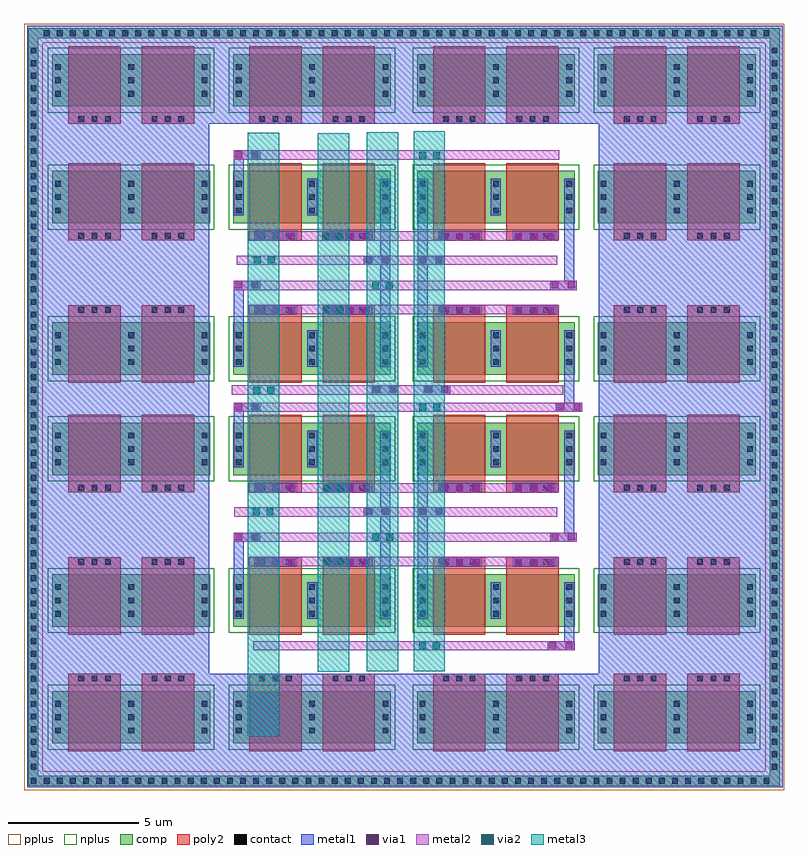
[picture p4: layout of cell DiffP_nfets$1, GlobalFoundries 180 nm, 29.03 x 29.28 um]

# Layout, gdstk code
import gdstk
lib = gdstk.Library(unit=1e-6, precision=1e-09)
def R(c, l, rs):  # rectangles x0, y0, x1, y1
    for r in rs: c.add(gdstk.rectangle(r[:2], r[2:], *l))
def A(c, l, x, y, w, h, nx, ny, dx, dy):  # array of equal rectangles
    R(c, l, [(x+i*dx, y+j*dy, x+i*dx+w, y+j*dy+h) for i in range(nx) for j in range(ny)])
comp = (22, 0)
poly2 = (30, 0)
pplus = (31, 0)
nplus = (32, 0)
contact = (33, 0)
metal1 = (34, 0)
via1 = (35, 0)
metal2 = (36, 0)
via2 = (38, 0)
metal3 = (42, 0)

nfet_1 = lib.new_cell('nfet$1')
R(nfet_1, comp, [(-0.42,0,0,2), (0,0,2.38,2), (2.38,0,2.8,2)])
R(nfet_1, poly2, [(0.19,-0.3,2.19,2.3), (0.19,2.3,2.19,2.66)])
R(nfet_1, nplus, [(-0.59,-0.24,2.97,2.24)])
A(nfet_1, contact, -0.32, 0.38, 0.22, 0.22, 1, 3, 0, 0.51)
A(nfet_1, contact, 2.48, 0.38, 0.22, 0.22, 1, 3, 0, 0.51)
A(nfet_1, contact, 0.57, 2.37, 0.22, 0.22, 3, 1, 0.51, 0)
R(nfet_1, metal1, [(-0.4,0.3,-0.02,1.7), (2.4,0.3,2.78,1.7), (0.49,2.29,1.89,2.67)])

diffp_nfets_1 = lib.new_cell('DiffP_nfets$1')
R(diffp_nfets_1, comp, [(-8.835,-2.305,19.855,-1.925), (-8.835,-1.925,-8.455,26.635), (19.475,-1.925,19.855,26.635), (-8.835,26.255,19.855,26.635)])
R(diffp_nfets_1, pplus, [(-9.005,-2.475,20.025,-1.755), (-9.005,-2.1,-8.285,26.805), (19.305,-2.1,20.025,26.805), (-9.005,26.085,20.025,26.805)])
A(diffp_nfets_1, contact, -8.75, -2.225, 0.22, 0.22, 57, 1, 0.5, 0)
A(diffp_nfets_1, contact, -8.755, -1.69, 0.22, 0.22, 1, 58, 0, 0.48)
A(diffp_nfets_1, contact, 19.555, -1.69, 0.22, 0.22, 1, 58, 0, 0.48)
A(diffp_nfets_1, contact, -8.25, 26.335, 0.22, 0.22, 56, 1, 0.5, 0)
R(diffp_nfets_1, contact, [(-8.755,25.67,-8.535,25.89)])
R(diffp_nfets_1, metal1, [(-8.875,-2.36,-1.92,26.725), (-2.315,-2.36,19.985,1.985), (12.94,-0.385,19.985,25.345), (11,2.87,12.01,3.225), (11,2.87,12.01,3.225), (11,2.87,12.01,3.225), (11.63,2.88,12.01,4.84), (4.61,5.35,4.99,8.045), (6.03,5.35,6.41,8.045), (-0.99,5.395,-0.61,7.35), (-0.21,6.065,1.44,6.445), (2.64,6.065,4.29,6.445), (6.83,6.065,8.48,6.445), (9.67,6.065,11.32,6.445), (-0.99,7.01,0.02,7.365), (-0.99,7.01,0.02,7.365), (-0.99,7.01,0.02,7.365), (11.09,7.01,12.1,7.365), (11.09,7.01,12.1,7.365), (11.09,7.01,12.1,7.365), (11.63,7.01,12.01,10.65), (3.98,7.975,4.99,8.33), (3.98,7.975,4.99,8.33), (3.98,7.975,4.99,8.33), (3.98,7.975,4.99,8.33), (3.98,7.975,4.99,8.33), (3.98,7.975,4.99,8.33), (4.61,7.975,4.99,10.095), (6.03,7.975,6.41,10.095), (6.04,7.975,7.05,8.33), (6.04,7.975,7.05,8.33), (6.04,7.975,7.05,8.33), (6.04,7.975,7.05,8.33), (6.04,7.975,7.05,8.33), (6.04,7.975,7.05,8.33), (-0.21,8.895,1.44,9.275), (2.64,8.895,4.29,9.275), (6.83,8.895,8.48,9.275), (9.67,8.895,11.32,9.275), (-0.99,11.26,-0.61,12.245), (-0.99,11.98,0.02,12.335), (-0.99,11.98,0.02,12.335), (-0.99,11.98,0.02,12.335), (11.31,11.98,12.32,12.335), (11.31,11.98,12.32,12.335), (11.31,11.98,12.32,12.335), (11.63,12.025,12.01,14.08), (4.28,12.64,5.29,12.995), (4.28,12.64,5.29,12.995), (4.28,12.64,5.29,12.995), (6.26,12.64,7.27,12.995), (6.26,12.64,7.27,12.995), (6.26,12.64,7.27,12.995), (4.61,14.97,4.99,17.665), (6.03,14.97,6.41,17.665), (-0.99,15.015,-0.61,16.97), (-0.21,15.685,1.44,16.065), (2.64,15.685,4.29,16.065), (6.83,15.685,8.48,16.065), (9.67,15.685,11.32,16.065), (-0.99,16.63,0.02,16.985), (-0.99,16.63,0.02,16.985), (-0.99,16.63,0.02,16.985), (11.09,16.63,12.1,16.985), (11.09,16.63,12.1,16.985), (11.09,16.63,12.1,16.985), (11.63,16.63,12.01,20.27), (3.98,17.595,4.99,17.95), (3.98,17.595,4.99,17.95), (3.98,17.595,4.99,17.95), (3.98,17.595,4.99,17.95), (3.98,17.595,4.99,17.95), (3.98,17.595,4.99,17.95), (4.61,17.595,4.99,19.715), (6.03,17.595,6.41,19.715), (6.04,17.595,7.05,17.95), (6.04,17.595,7.05,17.95), (6.04,17.595,7.05,17.95), (6.04,17.595,7.05,17.95), (6.04,17.595,7.05,17.95), (6.04,17.595,7.05,17.95), (-0.21,18.515,1.44,18.895), (2.64,18.515,4.29,18.895), (6.83,18.515,8.48,18.895), (9.67,18.515,11.32,18.895), (-0.99,20.845,-0.61,21.705), (-0.99,21.61,0.02,21.965), (-0.99,21.61,0.02,21.965), (-0.99,21.61,0.02,21.965), (-2.315,22.975,19.985,26.725)])
R(diffp_nfets_1, via1, [(11.06,2.935,11.32,3.195), (11.06,2.935,11.32,3.195), (11.68,2.935,11.94,3.195), (11.68,2.935,11.94,3.195), (-0.14,6.115,0.12,6.375), (-0.14,6.115,0.12,6.375), (-0.14,6.115,0.12,6.375), (-0.14,6.115,0.12,6.375), (-0.14,6.115,0.12,6.375), (-0.14,6.115,0.12,6.375), (-0.14,6.115,0.12,6.375), (-0.14,6.115,0.12,6.375), (0.48,6.115,0.74,6.375), (0.48,6.115,0.74,6.375), (0.48,6.115,0.74,6.375), (0.48,6.115,0.74,6.375), (0.48,6.115,0.74,6.375), (0.48,6.115,0.74,6.375), (0.48,6.115,0.74,6.375), (0.48,6.115,0.74,6.375), (1.1,6.115,1.36,6.375), (1.1,6.115,1.36,6.375), (1.1,6.115,1.36,6.375), (1.1,6.115,1.36,6.375), (1.1,6.115,1.36,6.375), (1.1,6.115,1.36,6.375), (1.1,6.115,1.36,6.375), (1.1,6.115,1.36,6.375), (2.71,6.115,2.97,6.375), (2.71,6.115,2.97,6.375), (2.71,6.115,2.97,6.375), (2.71,6.115,2.97,6.375), (2.71,6.115,2.97,6.375), (2.71,6.115,2.97,6.375), (2.71,6.115,2.97,6.375), (2.71,6.115,2.97,6.375), (3.33,6.115,3.59,6.375), (3.33,6.115,3.59,6.375), (3.33,6.115,3.59,6.375), (3.33,6.115,3.59,6.375), (3.33,6.115,3.59,6.375), (3.33,6.115,3.59,6.375), (3.33,6.115,3.59,6.375), (3.33,6.115,3.59,6.375), (3.95,6.115,4.21,6.375), (3.95,6.115,4.21,6.375), (3.95,6.115,4.21,6.375), (3.95,6.115,4.21,6.375), (3.95,6.115,4.21,6.375), (3.95,6.115,4.21,6.375), (3.95,6.115,4.21,6.375), (3.95,6.115,4.21,6.375), (6.9,6.115,7.16,6.375), (6.9,6.115,7.16,6.375), (6.9,6.115,7.16,6.375), (6.9,6.115,7.16,6.375), (6.9,6.115,7.16,6.375), (6.9,6.115,7.16,6.375), (6.9,6.115,7.16,6.375), (6.9,6.115,7.16,6.375), (7.52,6.115,7.78,6.375), (7.52,6.115,7.78,6.375), (7.52,6.115,7.78,6.375), (7.52,6.115,7.78,6.375), (7.52,6.115,7.78,6.375), (7.52,6.115,7.78,6.375), (7.52,6.115,7.78,6.375), (7.52,6.115,7.78,6.375), (8.14,6.115,8.4,6.375), (8.14,6.115,8.4,6.375), (8.14,6.115,8.4,6.375), (8.14,6.115,8.4,6.375), (8.14,6.115,8.4,6.375), (8.14,6.115,8.4,6.375), (8.14,6.115,8.4,6.375), (8.14,6.115,8.4,6.375), (9.74,6.115,10,6.375), (9.74,6.115,10,6.375), (9.74,6.115,10,6.375), (9.74,6.115,10,6.375), (9.74,6.115,10,6.375), (9.74,6.115,10,6.375), (9.74,6.115,10,6.375), (9.74,6.115,10,6.375), (10.36,6.115,10.62,6.375), (10.36,6.115,10.62,6.375), (10.36,6.115,10.62,6.375), (10.36,6.115,10.62,6.375), (10.36,6.115,10.62,6.375), (10.36,6.115,10.62,6.375), (10.36,6.115,10.62,6.375), (10.36,6.115,10.62,6.375), (10.98,6.115,11.24,6.375), (10.98,6.115,11.24,6.375), (10.98,6.115,11.24,6.375), (10.98,6.115,11.24,6.375), (10.98,6.115,11.24,6.375), (10.98,6.115,11.24,6.375), (10.98,6.115,11.24,6.375), (10.98,6.115,11.24,6.375), (-0.93,7.075,-0.67,7.335), (-0.93,7.075,-0.67,7.335), (-0.31,7.075,-0.05,7.335), (-0.31,7.075,-0.05,7.335), (11.15,7.075,11.41,7.335), (11.15,7.075,11.41,7.335), (11.77,7.075,12.03,7.335), (11.77,7.075,12.03,7.335), (4.04,8.04,4.3,8.3), (4.04,8.04,4.3,8.3), (4.04,8.04,4.3,8.3), (4.04,8.04,4.3,8.3), (4.66,8.04,4.92,8.3), (4.66,8.04,4.92,8.3), (4.66,8.04,4.92,8.3), (4.66,8.04,4.92,8.3), (6.1,8.04,6.36,8.3), (6.1,8.04,6.36,8.3), (6.1,8.04,6.36,8.3), (6.1,8.04,6.36,8.3), (6.72,8.04,6.98,8.3), (6.72,8.04,6.98,8.3), (6.72,8.04,6.98,8.3), (6.72,8.04,6.98,8.3), (-0.14,8.945,0.12,9.205), (-0.14,8.945,0.12,9.205), (-0.14,8.945,0.12,9.205), (-0.14,8.945,0.12,9.205), (-0.14,8.945,0.12,9.205), (-0.14,8.945,0.12,9.205), (-0.14,8.945,0.12,9.205), (-0.14,8.945,0.12,9.205), (0.48,8.945,0.74,9.205), (0.48,8.945,0.74,9.205), (0.48,8.945,0.74,9.205), (0.48,8.945,0.74,9.205), (0.48,8.945,0.74,9.205), (0.48,8.945,0.74,9.205), (0.48,8.945,0.74,9.205), (0.48,8.945,0.74,9.205), (1.1,8.945,1.36,9.205), (1.1,8.945,1.36,9.205), (1.1,8.945,1.36,9.205), (1.1,8.945,1.36,9.205), (1.1,8.945,1.36,9.205), (1.1,8.945,1.36,9.205), (1.1,8.945,1.36,9.205), (1.1,8.945,1.36,9.205), (2.71,8.945,2.97,9.205), (2.71,8.945,2.97,9.205), (2.71,8.945,2.97,9.205), (2.71,8.945,2.97,9.205), (2.71,8.945,2.97,9.205), (2.71,8.945,2.97,9.205), (2.71,8.945,2.97,9.205), (2.71,8.945,2.97,9.205), (3.33,8.945,3.59,9.205), (3.33,8.945,3.59,9.205), (3.33,8.945,3.59,9.205), (3.33,8.945,3.59,9.205), (3.33,8.945,3.59,9.205), (3.33,8.945,3.59,9.205), (3.33,8.945,3.59,9.205), (3.33,8.945,3.59,9.205), (3.95,8.945,4.21,9.205), (3.95,8.945,4.21,9.205), (3.95,8.945,4.21,9.205), (3.95,8.945,4.21,9.205), (3.95,8.945,4.21,9.205), (3.95,8.945,4.21,9.205), (3.95,8.945,4.21,9.205), (3.95,8.945,4.21,9.205), (6.9,8.945,7.16,9.205), (6.9,8.945,7.16,9.205), (6.9,8.945,7.16,9.205), (6.9,8.945,7.16,9.205), (6.9,8.945,7.16,9.205), (6.9,8.945,7.16,9.205), (6.9,8.945,7.16,9.205), (6.9,8.945,7.16,9.205), (7.52,8.945,7.78,9.205), (7.52,8.945,7.78,9.205), (7.52,8.945,7.78,9.205), (7.52,8.945,7.78,9.205), (7.52,8.945,7.78,9.205), (7.52,8.945,7.78,9.205), (7.52,8.945,7.78,9.205), (7.52,8.945,7.78,9.205), (8.14,8.945,8.4,9.205), (8.14,8.945,8.4,9.205), (8.14,8.945,8.4,9.205), (8.14,8.945,8.4,9.205), (8.14,8.945,8.4,9.205), (8.14,8.945,8.4,9.205), (8.14,8.945,8.4,9.205), (8.14,8.945,8.4,9.205), (9.74,8.945,10,9.205), (9.74,8.945,10,9.205), (9.74,8.945,10,9.205), (9.74,8.945,10,9.205), (9.74,8.945,10,9.205), (9.74,8.945,10,9.205), (9.74,8.945,10,9.205), (9.74,8.945,10,9.205), (10.36,8.945,10.62,9.205), (10.36,8.945,10.62,9.205), (10.36,8.945,10.62,9.205), (10.36,8.945,10.62,9.205), (10.36,8.945,10.62,9.205), (10.36,8.945,10.62,9.205), (10.36,8.945,10.62,9.205), (10.36,8.945,10.62,9.205), (10.98,8.945,11.24,9.205), (10.98,8.945,11.24,9.205), (10.98,8.945,11.24,9.205), (10.98,8.945,11.24,9.205), (10.98,8.945,11.24,9.205), (10.98,8.945,11.24,9.205), (10.98,8.945,11.24,9.205), (10.98,8.945,11.24,9.205), (-0.93,12.045,-0.67,12.305), (-0.93,12.045,-0.67,12.305), (-0.31,12.045,-0.05,12.305), (-0.31,12.045,-0.05,12.305), (11.37,12.045,11.63,12.305), (11.37,12.045,11.63,12.305), (11.99,12.045,12.25,12.305), (11.99,12.045,12.25,12.305), (4.34,12.705,4.6,12.965), (4.34,12.705,4.6,12.965), (4.96,12.705,5.22,12.965), (4.96,12.705,5.22,12.965), (6.32,12.705,6.58,12.965), (6.32,12.705,6.58,12.965), (6.94,12.705,7.2,12.965), (6.94,12.705,7.2,12.965), (-0.14,15.735,0.12,15.995), (-0.14,15.735,0.12,15.995), (-0.14,15.735,0.12,15.995), (-0.14,15.735,0.12,15.995), (-0.14,15.735,0.12,15.995), (-0.14,15.735,0.12,15.995), (-0.14,15.735,0.12,15.995), (-0.14,15.735,0.12,15.995), (0.48,15.735,0.74,15.995), (0.48,15.735,0.74,15.995), (0.48,15.735,0.74,15.995), (0.48,15.735,0.74,15.995), (0.48,15.735,0.74,15.995), (0.48,15.735,0.74,15.995), (0.48,15.735,0.74,15.995), (0.48,15.735,0.74,15.995), (1.1,15.735,1.36,15.995), (1.1,15.735,1.36,15.995), (1.1,15.735,1.36,15.995), (1.1,15.735,1.36,15.995), (1.1,15.735,1.36,15.995), (1.1,15.735,1.36,15.995), (1.1,15.735,1.36,15.995), (1.1,15.735,1.36,15.995), (2.71,15.735,2.97,15.995), (2.71,15.735,2.97,15.995), (2.71,15.735,2.97,15.995), (2.71,15.735,2.97,15.995), (2.71,15.735,2.97,15.995), (2.71,15.735,2.97,15.995), (2.71,15.735,2.97,15.995), (2.71,15.735,2.97,15.995), (3.33,15.735,3.59,15.995), (3.33,15.735,3.59,15.995), (3.33,15.735,3.59,15.995), (3.33,15.735,3.59,15.995), (3.33,15.735,3.59,15.995), (3.33,15.735,3.59,15.995), (3.33,15.735,3.59,15.995), (3.33,15.735,3.59,15.995), (3.95,15.735,4.21,15.995), (3.95,15.735,4.21,15.995), (3.95,15.735,4.21,15.995), (3.95,15.735,4.21,15.995), (3.95,15.735,4.21,15.995), (3.95,15.735,4.21,15.995), (3.95,15.735,4.21,15.995), (3.95,15.735,4.21,15.995), (6.9,15.735,7.16,15.995), (6.9,15.735,7.16,15.995), (6.9,15.735,7.16,15.995), (6.9,15.735,7.16,15.995), (6.9,15.735,7.16,15.995), (6.9,15.735,7.16,15.995), (6.9,15.735,7.16,15.995), (6.9,15.735,7.16,15.995), (7.52,15.735,7.78,15.995), (7.52,15.735,7.78,15.995), (7.52,15.735,7.78,15.995), (7.52,15.735,7.78,15.995), (7.52,15.735,7.78,15.995), (7.52,15.735,7.78,15.995), (7.52,15.735,7.78,15.995), (7.52,15.735,7.78,15.995), (8.14,15.735,8.4,15.995), (8.14,15.735,8.4,15.995), (8.14,15.735,8.4,15.995), (8.14,15.735,8.4,15.995), (8.14,15.735,8.4,15.995), (8.14,15.735,8.4,15.995), (8.14,15.735,8.4,15.995), (8.14,15.735,8.4,15.995), (9.74,15.735,10,15.995), (9.74,15.735,10,15.995), (9.74,15.735,10,15.995), (9.74,15.735,10,15.995), (9.74,15.735,10,15.995), (9.74,15.735,10,15.995), (9.74,15.735,10,15.995), (9.74,15.735,10,15.995), (10.36,15.735,10.62,15.995), (10.36,15.735,10.62,15.995), (10.36,15.735,10.62,15.995), (10.36,15.735,10.62,15.995), (10.36,15.735,10.62,15.995), (10.36,15.735,10.62,15.995), (10.36,15.735,10.62,15.995), (10.36,15.735,10.62,15.995), (10.98,15.735,11.24,15.995), (10.98,15.735,11.24,15.995), (10.98,15.735,11.24,15.995), (10.98,15.735,11.24,15.995), (10.98,15.735,11.24,15.995), (10.98,15.735,11.24,15.995), (10.98,15.735,11.24,15.995), (10.98,15.735,11.24,15.995), (-0.93,16.695,-0.67,16.955), (-0.93,16.695,-0.67,16.955), (-0.31,16.695,-0.05,16.955), (-0.31,16.695,-0.05,16.955), (11.15,16.695,11.41,16.955), (11.15,16.695,11.41,16.955), (11.77,16.695,12.03,16.955), (11.77,16.695,12.03,16.955), (4.04,17.66,4.3,17.92), (4.04,17.66,4.3,17.92), (4.04,17.66,4.3,17.92), (4.04,17.66,4.3,17.92), (4.66,17.66,4.92,17.92), (4.66,17.66,4.92,17.92), (4.66,17.66,4.92,17.92), (4.66,17.66,4.92,17.92), (6.1,17.66,6.36,17.92), (6.1,17.66,6.36,17.92), (6.1,17.66,6.36,17.92), (6.1,17.66,6.36,17.92), (6.72,17.66,6.98,17.92), (6.72,17.66,6.98,17.92), (6.72,17.66,6.98,17.92), (6.72,17.66,6.98,17.92), (-0.14,18.565,0.12,18.825), (-0.14,18.565,0.12,18.825), (-0.14,18.565,0.12,18.825), (-0.14,18.565,0.12,18.825), (-0.14,18.565,0.12,18.825), (-0.14,18.565,0.12,18.825), (-0.14,18.565,0.12,18.825), (-0.14,18.565,0.12,18.825), (0.48,18.565,0.74,18.825), (0.48,18.565,0.74,18.825), (0.48,18.565,0.74,18.825), (0.48,18.565,0.74,18.825), (0.48,18.565,0.74,18.825), (0.48,18.565,0.74,18.825), (0.48,18.565,0.74,18.825), (0.48,18.565,0.74,18.825), (1.1,18.565,1.36,18.825), (1.1,18.565,1.36,18.825), (1.1,18.565,1.36,18.825), (1.1,18.565,1.36,18.825), (1.1,18.565,1.36,18.825), (1.1,18.565,1.36,18.825), (1.1,18.565,1.36,18.825), (1.1,18.565,1.36,18.825), (2.71,18.565,2.97,18.825), (2.71,18.565,2.97,18.825), (2.71,18.565,2.97,18.825), (2.71,18.565,2.97,18.825), (2.71,18.565,2.97,18.825), (2.71,18.565,2.97,18.825), (2.71,18.565,2.97,18.825), (2.71,18.565,2.97,18.825), (3.33,18.565,3.59,18.825), (3.33,18.565,3.59,18.825), (3.33,18.565,3.59,18.825), (3.33,18.565,3.59,18.825), (3.33,18.565,3.59,18.825), (3.33,18.565,3.59,18.825), (3.33,18.565,3.59,18.825), (3.33,18.565,3.59,18.825), (3.95,18.565,4.21,18.825), (3.95,18.565,4.21,18.825), (3.95,18.565,4.21,18.825), (3.95,18.565,4.21,18.825), (3.95,18.565,4.21,18.825), (3.95,18.565,4.21,18.825), (3.95,18.565,4.21,18.825), (3.95,18.565,4.21,18.825), (6.9,18.565,7.16,18.825), (6.9,18.565,7.16,18.825), (6.9,18.565,7.16,18.825), (6.9,18.565,7.16,18.825), (6.9,18.565,7.16,18.825), (6.9,18.565,7.16,18.825), (6.9,18.565,7.16,18.825), (6.9,18.565,7.16,18.825), (7.52,18.565,7.78,18.825), (7.52,18.565,7.78,18.825), (7.52,18.565,7.78,18.825), (7.52,18.565,7.78,18.825), (7.52,18.565,7.78,18.825), (7.52,18.565,7.78,18.825), (7.52,18.565,7.78,18.825), (7.52,18.565,7.78,18.825), (8.14,18.565,8.4,18.825), (8.14,18.565,8.4,18.825), (8.14,18.565,8.4,18.825), (8.14,18.565,8.4,18.825), (8.14,18.565,8.4,18.825), (8.14,18.565,8.4,18.825), (8.14,18.565,8.4,18.825), (8.14,18.565,8.4,18.825), (9.74,18.565,10,18.825), (9.74,18.565,10,18.825), (9.74,18.565,10,18.825), (9.74,18.565,10,18.825), (9.74,18.565,10,18.825), (9.74,18.565,10,18.825), (9.74,18.565,10,18.825), (9.74,18.565,10,18.825), (10.36,18.565,10.62,18.825), (10.36,18.565,10.62,18.825), (10.36,18.565,10.62,18.825), (10.36,18.565,10.62,18.825), (10.36,18.565,10.62,18.825), (10.36,18.565,10.62,18.825), (10.36,18.565,10.62,18.825), (10.36,18.565,10.62,18.825), (10.98,18.565,11.24,18.825), (10.98,18.565,11.24,18.825), (10.98,18.565,11.24,18.825), (10.98,18.565,11.24,18.825), (10.98,18.565,11.24,18.825), (10.98,18.565,11.24,18.825), (10.98,18.565,11.24,18.825), (10.98,18.565,11.24,18.825), (-0.93,21.675,-0.67,21.935), (-0.93,21.675,-0.67,21.935), (-0.31,21.675,-0.05,21.935), (-0.31,21.675,-0.05,21.935)])
R(diffp_nfets_1, metal2, [(-0.25,2.87,12.04,3.225), (-0.42,6.09,11.4,6.445), (-1,7.01,12.105,7.365), (-0.965,7.975,11.365,8.33), (-0.42,8.895,11.4,9.25), (-0.99,11.98,12.32,12.335), (-1.07,12.64,11.585,12.995), (-0.42,15.71,11.4,16.065), (-1,16.63,12.105,16.985), (-0.885,17.595,11.365,17.95), (-0.42,18.515,11.4,18.87), (-0.99,21.61,11.445,21.965)])
R(diffp_nfets_1, via2, [(6.085,2.915,6.345,3.175), (6.085,2.915,6.345,3.175), (6.085,2.915,6.345,3.175), (6.085,2.915,6.345,3.175), (6.085,2.915,6.345,3.175), (6.085,2.915,6.345,3.175), (6.085,2.915,6.345,3.175), (6.085,2.915,6.345,3.175), (6.615,2.915,6.875,3.175), (6.615,2.915,6.875,3.175), (6.615,2.915,6.875,3.175), (6.615,2.915,6.875,3.175), (6.615,2.915,6.875,3.175), (6.615,2.915,6.875,3.175), (6.615,2.915,6.875,3.175), (2.44,6.135,2.7,6.395), (2.44,6.135,2.7,6.395), (2.44,6.135,2.7,6.395), (2.44,6.135,2.7,6.395), (2.44,6.135,2.7,6.395), (2.44,6.135,2.7,6.395), (2.44,6.135,2.7,6.395), (2.44,6.135,2.7,6.395), (2.97,6.135,3.23,6.395), (2.97,6.135,3.23,6.395), (2.97,6.135,3.23,6.395), (2.97,6.135,3.23,6.395), (2.97,6.135,3.23,6.395), (2.97,6.135,3.23,6.395), (2.97,6.135,3.23,6.395), (2.97,6.135,3.23,6.395), (4.3,7.055,4.56,7.315), (4.3,7.055,4.56,7.315), (4.3,7.055,4.56,7.315), (4.3,7.055,4.56,7.315), (4.3,7.055,4.56,7.315), (4.3,7.055,4.56,7.315), (4.3,7.055,4.56,7.315), (4.3,7.055,4.56,7.315), (4.83,7.055,5.09,7.315), (4.83,7.055,5.09,7.315), (4.83,7.055,5.09,7.315), (4.83,7.055,5.09,7.315), (4.83,7.055,5.09,7.315), (4.83,7.055,5.09,7.315), (4.83,7.055,5.09,7.315), (4.83,7.055,5.09,7.315), (-0.265,8.03,-0.005,8.29), (-0.265,8.03,-0.005,8.29), (-0.265,8.03,-0.005,8.29), (-0.265,8.03,-0.005,8.29), (-0.265,8.03,-0.005,8.29), (-0.265,8.03,-0.005,8.29), (-0.265,8.03,-0.005,8.29), (-0.265,8.03,-0.005,8.29), (0.265,8.03,0.525,8.29), (0.265,8.03,0.525,8.29), (0.265,8.03,0.525,8.29), (0.265,8.03,0.525,8.29), (0.265,8.03,0.525,8.29), (0.265,8.03,0.525,8.29), (0.265,8.03,0.525,8.29), (0.265,8.03,0.525,8.29), (2.43,8.94,2.69,9.2), (2.43,8.94,2.69,9.2), (2.43,8.94,2.69,9.2), (2.43,8.94,2.69,9.2), (2.43,8.94,2.69,9.2), (2.43,8.94,2.69,9.2), (2.43,8.94,2.69,9.2), (2.43,8.94,2.69,9.2), (2.96,8.94,3.22,9.2), (2.96,8.94,3.22,9.2), (2.96,8.94,3.22,9.2), (2.96,8.94,3.22,9.2), (2.96,8.94,3.22,9.2), (2.96,8.94,3.22,9.2), (2.96,8.94,3.22,9.2), (2.96,8.94,3.22,9.2), (6.1,12.02,6.36,12.28), (6.1,12.02,6.36,12.28), (6.1,12.02,6.36,12.28), (6.1,12.02,6.36,12.28), (6.1,12.02,6.36,12.28), (6.1,12.02,6.36,12.28), (6.1,12.02,6.36,12.28), (6.1,12.02,6.36,12.28), (6.63,12.02,6.89,12.28), (6.63,12.02,6.89,12.28), (6.63,12.02,6.89,12.28), (6.63,12.02,6.89,12.28), (6.63,12.02,6.89,12.28), (6.63,12.02,6.89,12.28), (6.63,12.02,6.89,12.28), (6.63,12.02,6.89,12.28), (-0.245,12.675,0.015,12.935), (-0.245,12.675,0.015,12.935), (-0.245,12.675,0.015,12.935), (-0.245,12.675,0.015,12.935), (-0.245,12.675,0.015,12.935), (-0.245,12.675,0.015,12.935), (-0.245,12.675,0.015,12.935), (-0.245,12.675,0.015,12.935), (0.285,12.675,0.545,12.935), (0.285,12.675,0.545,12.935), (0.285,12.675,0.545,12.935), (0.285,12.675,0.545,12.935), (0.285,12.675,0.545,12.935), (0.285,12.675,0.545,12.935), (0.285,12.675,0.545,12.935), (0.285,12.675,0.545,12.935), (2.4,15.755,2.66,16.015), (2.4,15.755,2.66,16.015), (2.4,15.755,2.66,16.015), (2.4,15.755,2.66,16.015), (2.4,15.755,2.66,16.015), (2.4,15.755,2.66,16.015), (2.4,15.755,2.66,16.015), (2.4,15.755,2.66,16.015), (2.93,15.755,3.19,16.015), (2.93,15.755,3.19,16.015), (2.93,15.755,3.19,16.015), (2.93,15.755,3.19,16.015), (2.93,15.755,3.19,16.015), (2.93,15.755,3.19,16.015), (2.93,15.755,3.19,16.015), (2.93,15.755,3.19,16.015), (4.29,16.675,4.55,16.935), (4.29,16.675,4.55,16.935), (4.29,16.675,4.55,16.935), (4.29,16.675,4.55,16.935), (4.29,16.675,4.55,16.935), (4.29,16.675,4.55,16.935), (4.29,16.675,4.55,16.935), (4.29,16.675,4.55,16.935), (4.82,16.675,5.08,16.935), (4.82,16.675,5.08,16.935), (4.82,16.675,5.08,16.935), (4.82,16.675,5.08,16.935), (4.82,16.675,5.08,16.935), (4.82,16.675,5.08,16.935), (4.82,16.675,5.08,16.935), (4.82,16.675,5.08,16.935), (-0.22,17.65,0.04,17.91), (-0.22,17.65,0.04,17.91), (-0.22,17.65,0.04,17.91), (-0.22,17.65,0.04,17.91), (-0.22,17.65,0.04,17.91), (-0.22,17.65,0.04,17.91), (-0.22,17.65,0.04,17.91), (-0.22,17.65,0.04,17.91), (0.31,17.65,0.57,17.91), (0.31,17.65,0.57,17.91), (0.31,17.65,0.57,17.91), (0.31,17.65,0.57,17.91), (0.31,17.65,0.57,17.91), (0.31,17.65,0.57,17.91), (0.31,17.65,0.57,17.91), (0.31,17.65,0.57,17.91), (2.38,18.56,2.64,18.82), (2.38,18.56,2.64,18.82), (2.38,18.56,2.64,18.82), (2.38,18.56,2.64,18.82), (2.38,18.56,2.64,18.82), (2.38,18.56,2.64,18.82), (2.38,18.56,2.64,18.82), (2.38,18.56,2.64,18.82), (2.91,18.56,3.17,18.82), (2.91,18.56,3.17,18.82), (2.91,18.56,3.17,18.82), (2.91,18.56,3.17,18.82), (2.91,18.56,3.17,18.82), (2.91,18.56,3.17,18.82), (2.91,18.56,3.17,18.82), (2.91,18.56,3.17,18.82), (6.095,21.655,6.355,21.915), (6.095,21.655,6.355,21.915), (6.095,21.655,6.355,21.915), (6.095,21.655,6.355,21.915), (6.095,21.655,6.355,21.915), (6.095,21.655,6.355,21.915), (6.095,21.655,6.355,21.915), (6.095,21.655,6.355,21.915), (6.625,21.655,6.885,21.915), (6.625,21.655,6.885,21.915), (6.625,21.655,6.885,21.915), (6.625,21.655,6.885,21.915), (6.625,21.655,6.885,21.915), (6.625,21.655,6.885,21.915), (6.625,21.655,6.885,21.915), (6.625,21.655,6.885,21.915)])
R(diffp_nfets_1, metal3, [(-0.45,-0.405,0.75,22.635), (2.21,2.06,3.41,22.62), (4.09,2.08,5.29,22.655), (5.875,2.08,7.075,22.69)])
diffp_nfets_1.add(gdstk.Reference(nfet_1, (-0.59,3.775)))
diffp_nfets_1.add(gdstk.Reference(nfet_1, (2.21,3.775)))
diffp_nfets_1.add(gdstk.Reference(nfet_1, (6.43,3.775)))
diffp_nfets_1.add(gdstk.Reference(nfet_1, (9.23,3.775)))
diffp_nfets_1.add(gdstk.Reference(nfet_1, (-0.59,11.565), x_reflection=True))
diffp_nfets_1.add(gdstk.Reference(nfet_1, (2.21,11.565), x_reflection=True))
diffp_nfets_1.add(gdstk.Reference(nfet_1, (6.43,11.565), x_reflection=True))
diffp_nfets_1.add(gdstk.Reference(nfet_1, (9.23,11.565), x_reflection=True))
diffp_nfets_1.add(gdstk.Reference(nfet_1, (9.23,13.395)))
diffp_nfets_1.add(gdstk.Reference(nfet_1, (6.43,13.395)))
diffp_nfets_1.add(gdstk.Reference(nfet_1, (2.21,13.395)))
diffp_nfets_1.add(gdstk.Reference(nfet_1, (-0.59,13.395)))
diffp_nfets_1.add(gdstk.Reference(nfet_1, (-7.5,3.775)))
diffp_nfets_1.add(gdstk.Reference(nfet_1, (-4.7,3.775)))
diffp_nfets_1.add(gdstk.Reference(nfet_1, (-0.59,25.645), x_reflection=True))
diffp_nfets_1.add(gdstk.Reference(nfet_1, (2.21,25.645), x_reflection=True))
diffp_nfets_1.add(gdstk.Reference(nfet_1, (6.43,25.645), x_reflection=True))
diffp_nfets_1.add(gdstk.Reference(nfet_1, (9.23,25.645), x_reflection=True))
diffp_nfets_1.add(gdstk.Reference(nfet_1, (-7.5,25.645), x_reflection=True))
diffp_nfets_1.add(gdstk.Reference(nfet_1, (-4.7,25.645), x_reflection=True))
diffp_nfets_1.add(gdstk.Reference(nfet_1, (13.34,25.645), x_reflection=True))
diffp_nfets_1.add(gdstk.Reference(nfet_1, (16.14,25.645), x_reflection=True))
diffp_nfets_1.add(gdstk.Reference(nfet_1, (-4.7,-0.685)))
diffp_nfets_1.add(gdstk.Reference(nfet_1, (-7.5,-0.685)))
diffp_nfets_1.add(gdstk.Reference(nfet_1, (16.14,-0.685)))
diffp_nfets_1.add(gdstk.Reference(nfet_1, (13.34,-0.685)))
diffp_nfets_1.add(gdstk.Reference(nfet_1, (2.21,-0.685)))
diffp_nfets_1.add(gdstk.Reference(nfet_1, (-0.59,-0.685)))
diffp_nfets_1.add(gdstk.Reference(nfet_1, (9.23,-0.685)))
diffp_nfets_1.add(gdstk.Reference(nfet_1, (6.43,-0.685)))
diffp_nfets_1.add(gdstk.Reference(nfet_1, (-0.59,21.185), x_reflection=True))
diffp_nfets_1.add(gdstk.Reference(nfet_1, (2.21,21.185), x_reflection=True))
diffp_nfets_1.add(gdstk.Reference(nfet_1, (6.43,21.185), x_reflection=True))
diffp_nfets_1.add(gdstk.Reference(nfet_1, (9.23,21.185), x_reflection=True))
diffp_nfets_1.add(gdstk.Reference(nfet_1, (-7.5,11.565), x_reflection=True))
diffp_nfets_1.add(gdstk.Reference(nfet_1, (-4.7,11.565), x_reflection=True))
diffp_nfets_1.add(gdstk.Reference(nfet_1, (-4.7,13.395)))
diffp_nfets_1.add(gdstk.Reference(nfet_1, (-7.5,13.395)))
diffp_nfets_1.add(gdstk.Reference(nfet_1, (-7.5,21.185), x_reflection=True))
diffp_nfets_1.add(gdstk.Reference(nfet_1, (-4.7,21.185), x_reflection=True))
diffp_nfets_1.add(gdstk.Reference(nfet_1, (13.34,3.775)))
diffp_nfets_1.add(gdstk.Reference(nfet_1, (16.14,3.775)))
diffp_nfets_1.add(gdstk.Reference(nfet_1, (13.34,11.565), x_reflection=True))
diffp_nfets_1.add(gdstk.Reference(nfet_1, (16.14,11.565), x_reflection=True))
diffp_nfets_1.add(gdstk.Reference(nfet_1, (16.14,13.395)))
diffp_nfets_1.add(gdstk.Reference(nfet_1, (13.34,13.395)))
diffp_nfets_1.add(gdstk.Reference(nfet_1, (13.34,21.185), x_reflection=True))
diffp_nfets_1.add(gdstk.Reference(nfet_1, (16.14,21.185), x_reflection=True))

lib.write_gds('DiffP_nfets_1.gds')
